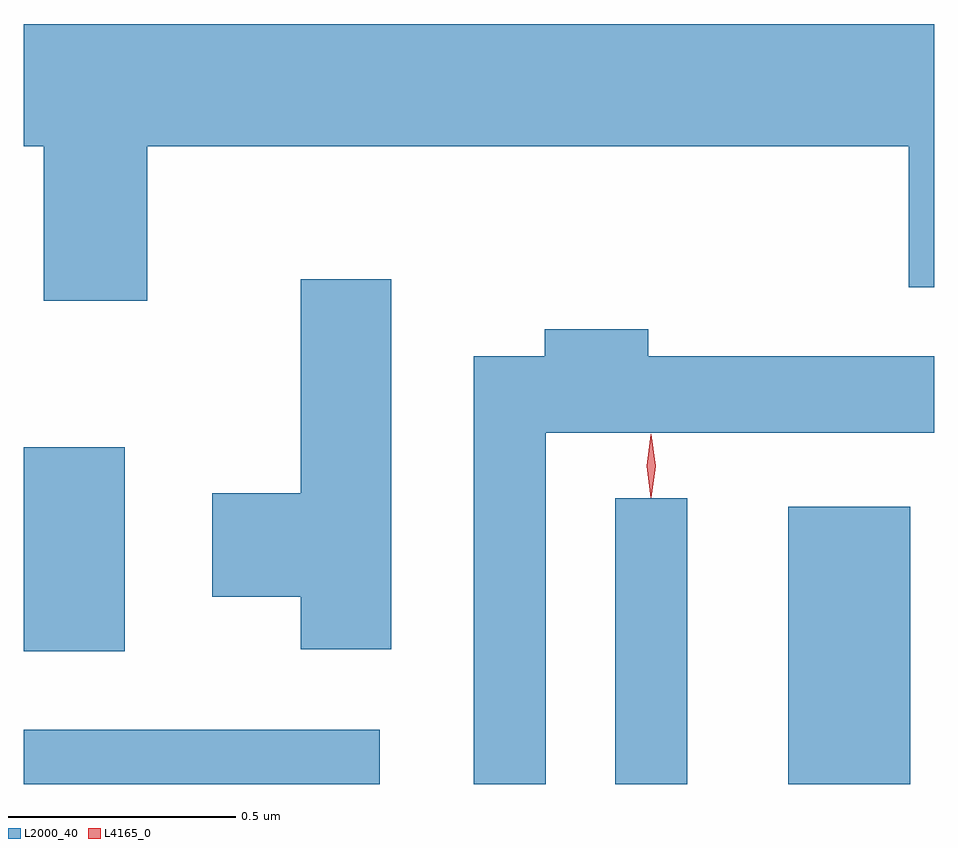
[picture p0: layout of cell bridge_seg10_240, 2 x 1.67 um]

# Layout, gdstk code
import gdstk
lib = gdstk.Library(unit=1e-6, precision=1e-09)
def R(c, l, rs):  # rectangles x0, y0, x1, y1
    for r in rs: c.add(gdstk.rectangle(r[:2], r[2:], *l))
def P(c, l, *ps):  # polygons
    for p in ps: c.add(gdstk.Polygon(p, *l))
L2000_40 = (2000, 40)
L4165_0 = (4165, 0)

bridge_seg10_240 = lib.new_cell('bridge_seg10_240')
R(bridge_seg10_240, L2000_40, [(1747.597,2092.535,1748.379,2092.654), (1748.896,2092.535,1749.054,2093.163), (1749.276,2092.535,1749.544,2093.144), (1747.597,2092.826,1747.819,2093.274)])
P(bridge_seg10_240, L2000_40, [(1747.869,2093.936),(1749.541,2093.936),(1749.541,2093.626),(1749.597,2093.626),(1749.597,2094.204),(1747.597,2094.204),(1747.597,2093.936),(1747.641,2093.936),(1747.641,2093.596),(1747.869,2093.596)],
  [(1748.404,2093.644),(1748.206,2093.644),(1748.206,2093.174),(1748.011,2093.174),(1748.011,2092.946),(1748.206,2092.946),(1748.206,2092.831),(1748.404,2092.831)],
  [(1748.744,2093.306),(1749.597,2093.306),(1749.597,2093.474),(1748.969,2093.474),(1748.969,2093.534),(1748.741,2093.534),(1748.741,2093.474),(1748.586,2093.474),(1748.586,2092.535),(1748.744,2092.535)])
P(bridge_seg10_240, L4165_0, [(1748.974,2093.164),(1748.965,2093.233),(1748.974,2093.303),(1748.975,2093.303),(1748.975,2093.303),(1748.985,2093.233),(1748.975,2093.164),(1748.975,2093.164)],
  [(1748.974,2093.167),(1748.965,2093.234),(1748.974,2093.3),(1748.975,2093.301),(1748.975,2093.3),(1748.985,2093.234),(1748.975,2093.167),(1748.975,2093.167)])

lib.write_gds('bridge_seg10_240.gds')
